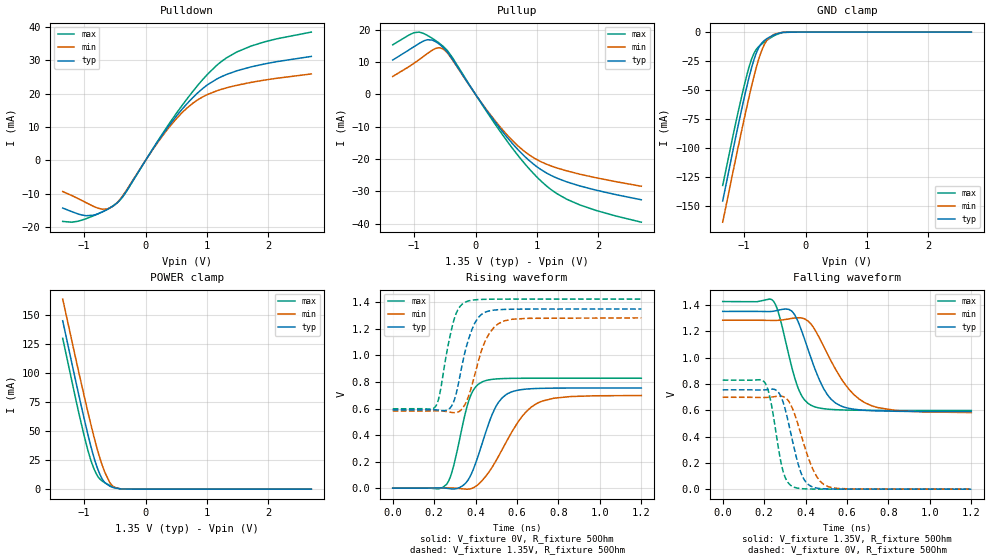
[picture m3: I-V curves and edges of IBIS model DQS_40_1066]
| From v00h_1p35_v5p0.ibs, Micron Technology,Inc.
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| MODEL DQS_40_1066 (40 Ohm Data Strobe I/O with no ODT, 800/1066Mbps)
[Model]   DQS_40_1066
Model_type   I/O
Vinl = 515.000mV
Vinh = 835.000mV
Vmeas = 675.000mV
Vref = 675.000mV
Cref = 0.0pF
Rref = 25.000Ohm
|   typ   min   max
|C_comp   1.100pF   1.025pF   1.175pF
C_comp_pullup   0.5500pF   0.5125pF   0.5875pF
C_comp_pulldown   0.5500pF   0.5125pF   0.5875pF
[Model Spec]
| Input threshold voltage corners
Vinl   0.5150V   0.4815V   0.5525V
Vinh   0.8350V   0.8015V   0.8725V
| Measurement voltage corners
Vmeas   0.6750V   0.6415V   0.7125V
| Timing spec test load voltage corners
Vref   0.6750V   0.6415V   0.7125V
| Dynamic Overshoot Parameters from DDR3L Specification
D_overshoot_ampl_h   0.40   NA   NA
D_overshoot_ampl_l   0.40   NA   NA
D_overshoot_area_h   0.19n   NA   NA
D_overshoot_area_l   0.19n   NA   NA
[Receiver Thresholds]
|Vth   =  0.675V
|Vth_min  =  0.6615V
|Vth_max  =  0.6885V
|Vinh_ac  =  0.160V
|Vinh_dc  =  0.090V
|Vinl_ac  = -0.160V
|Vinl_dc  = -0.090V
|Tslew_ac =  5.000ns |Not specified, so set to high value
|Threshold_sensitivity = 0.50
|Reference_supply Pullup_ref
Vcross_low   = 0.515V
Vcross_high  = 0.835V
Vdiff_ac   = 320mV
Vdiff_dc   = 180mV
Tdiffslew_ac = 10.000ns |Not specified, so set to high value
[Voltage Range]   1.3500V   1.2830V   1.4250V
[Pullup Reference]   1.3500V   1.2830V   1.4250V
| Junction Temperature (Ambient temp is 35C typ, 95C min, 0C max)
[Temperature Range]   50.0   110.0   0.0
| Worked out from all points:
|   slope of the pulldown table from 0 to 0.203 V, typ, clamps not added: 35.4 ohm
|   slope of the pullup table from 0 to 0.203 V, typ, clamps not added: 36.6 ohm
|   GND clamp passes 1 mA (typ) near -0.43 V on its own axis
|   POWER clamp passes 1 mA (typ) near -0.50 V on its own axis
|   falling waveform, V_fixture 1.35V, R_fixture 50Ohm: 20-80 % time 114ps typ, 162ps min, 82.3ps max; typ from 1.35 V to 0.59 V
|   rising waveform, V_fixture 0V, R_fixture 50Ohm: 20-80 % time 103ps typ, 162ps min, 74.3ps max; typ from 0 V to 0.754 V
|   rising waveform, V_fixture 1.35V, R_fixture 50Ohm: 20-80 % time 72.5ps typ, 85.7ps min, 60.8ps max; typ from 0.589 V to 1.35 V
|   falling waveform, V_fixture 0V, R_fixture 50Ohm: 20-80 % time 69.9ps typ, 89.1ps min, 54ps max; typ from 0.754 V to 0 V
[Pulldown]
|   Voltage   I(typ)   I(min)   I(max)
-1.35V    -14.3mA    -9.348mA   -18.31mA
-1.203V   -15.38mA   -10.55mA   -18.55mA
-971.5mV  -16.61mA   -12.68mA   -17.52mA
-704.7mV  -15.48mA   -14.65mA   -15.45mA
-548.1mV  -13.92mA   -13.97mA   -13.86mA
-335.1mV  -9.869mA   -9.618mA   -10mA
144.8mV   4.141mA    3.97mA     4.27mA
513.9mV   13.54mA    12.73mA    14.42mA
841.7mV   20.11mA    18.06mA    22.31mA
1.236V    25.1mA     21.31mA    29.66mA
1.727V    28.07mA    23.41mA    34.33mA
2.7V      31.17mA    25.92mA    38.47mA
[GND Clamp]
|   Voltage   I(typ)   I(min)   I(max)
-1.35V    -145.9mA   -164.2mA   -132.5mA
-1.17V    -98.96mA   -117.6mA   -86.43mA
-1.018V   -61.07mA   -79.29mA   -50.2mA
-926.6mV  -40.32mA   -57.39mA   -31.18mA
-879.8mV  -30.81mA   -46.7mA    -23.36mA
-785.7mV  -16mA      -27.37mA   -13.77mA
-693.9mV  -8.28mA    -13.28mA   -9.485mA
-627.7mV  -5.584mA   -6.845mA   -6.94mA
-532.7mV  -2.84mA    -2.498mA   -3.709mA
-379.4mV  -330.6uA   -273.8uA   -441.6uA
-133.7mV  -262.6nA   -722.6nA   -88.8nA
2.7V      0A         0A         0A
[Pullup]
|   Voltage   I(typ)   I(min)   I(max)
-1.35V    10.67mA    5.582mA    15.39mA
-1.065V   14.05mA    8.88mA     18.61mA
-921.1mV  15.79mA    10.77mA    19.33mA
-710.1mV  16.87mA    13.66mA    17.45mA
-536.3mV  14.7mA     14.17mA    15.05mA
-379.4mV  11.02mA    10.8mA     11.49mA
107.5mV   -2.981mA   -2.872mA   -3.171mA
513.9mV   -13.27mA   -12.53mA   -14.45mA
837.4mV   -19.84mA   -18.22mA   -22.24mA
1.148V    -24.23mA   -21.53mA   -28.21mA
1.698V    -28.33mA   -24.69mA   -34.2mA
2.7V      -32.61mA   -28.42mA   -39.55mA
[POWER Clamp]
|   Voltage   I(typ)   I(min)   I(max)
-1.35V    145mA      163.7mA    129.9mA
-1.082V   79.61mA    99.21mA    64.23mA
-945.3mV  48.32mA    67.71mA    34.54mA
-885.6mV  35.76mA    54.53mA    23.95mA
-809.9mV  21.99mA    38.83mA    13.97mA
-718.8mV  9.969mA    22.56mA    7.52mA
-662.9mV  5.548mA    14.41mA    5.513mA
-584mV    2.599mA    5.794mA    3.214mA
-526.3mV  1.418mA    2.328mA    1.844mA
-413.1mV  241.3uA    288.1uA    294.1uA
-133.7mV  139.4nA    524.3nA    29.79nA
2.7V      0A         0A         0A
[Ramp]
R_load = 50
|   typ   min   max
dV/dt_r 4.5268E-01/1.0287E-10   4.1872E-01/1.6134E-10   4.9704E-01/7.4214E-11
dV/dt_f 4.5628E-01/1.1332E-10   4.2070E-01/1.6221E-10   4.9633E-01/8.2251E-11
[Falling Waveform]
V_fixture = 1.35V
V_fixture_min = 1.283V
V_fixture_max = 1.425V
R_fixture = 50Ohm
C_fixture = 0F
|   Time   V(typ)   V(min)   V(max)
0s        1.35V      1.283V     1.425V
244ps     1.351V     1.282V     1.43V
274ps     1.361V     1.283V     1.313V
338ps     1.345V     1.298V     898.8mV
378ps     1.215V     1.301V     718.9mV
434ps     961.4mV    1.238V     631.5mV
524ps     682.1mV    970.7mV    605.6mV
614ps     612.3mV    750.5mV    600.3mV
686ps     599.1mV    656.9mV    598.9mV
1.2ns     589.5mV    581.8mV    597.8mV
[Rising Waveform]
V_fixture = 0V
V_fixture_min = 0V
V_fixture_max = 0V
R_fixture = 50Ohm
C_fixture = 0F
|   Time   V(typ)   V(min)   V(max)
0s        0V         669.8nV    0V
260ps     -1.474mV   1.577mV    28.41mV
294ps     -6.936mV   554.1uV    167.1mV
370ps     77.45mV    -6.793mV   671.9mV
434ps     347.5mV    61.16mV    802.1mV
480ps     554.9mV    157.5mV    819.8mV
528ps     680mV      289.7mV    825.3mV
622ps     742.6mV    535.3mV    827.9mV
692ps     750.8mV    634.8mV    828.3mV
1.2ns     754.5mV    697.9mV    828.4mV
[Rising Waveform]
V_fixture = 1.35V
V_fixture_min = 1.283V
V_fixture_max = 1.425V
R_fixture = 50Ohm
C_fixture = 0F
|   Time   V(typ)   V(min)   V(max)
0s        589.4mV    580.8mV    597.8mV
208ps     589.9mV    582.6mV    618mV
228ps     586.5mV    582.3mV    716.7mV
290ps     635.4mV    569.4mV    1.235V
316ps     778.6mV    574mV      1.348V
354ps     1.057V     646.6mV    1.404V
396ps     1.243V     853.5mV    1.419V
448ps     1.327V     1.114V     1.423V
534ps     1.347V     1.258V     1.425V
1.2ns     1.35V      1.283V     1.425V
[Falling Waveform]
|Gnd
V_fixture = 0V
V_fixture_min = 0V
V_fixture_max = 0V
R_fixture = 50Ohm
C_fixture = 0F
|   Time   V(typ)   V(min)   V(max)
0s        754.5mV    698.1mV    828.4mV
204ps     754.2mV    696.4mV    808mV
232ps     759mV      699.2mV    666.9mV
278ps     713.7mV    706.8mV    228.7mV
306ps     579.9mV    690.4mV    74.19mV
342ps     331.3mV    591.9mV    16.63mV
400ps     56.8mV     301.1mV    2.266mV
454ps     8.416mV    94.91mV    692.3uV
508ps     1.91mV     19.88mV    292.9uV
1.2ns     1.144uV    10.5uV     0V
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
